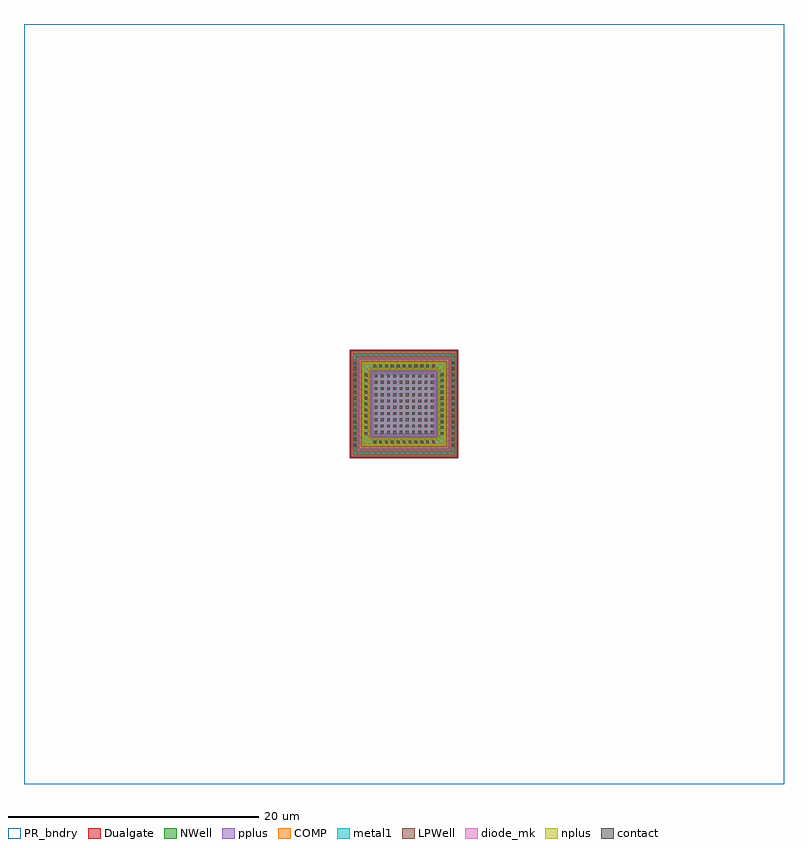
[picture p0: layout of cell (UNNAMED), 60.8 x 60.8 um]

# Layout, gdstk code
import gdstk
lib = gdstk.Library(unit=1e-6, precision=1e-09)
def R(c, l, rs):  # rectangles x0, y0, x1, y1
    for r in rs: c.add(gdstk.rectangle(r[:2], r[2:], *l))
def A(c, l, x, y, w, h, nx, ny, dx, dy):  # array of equal rectangles
    R(c, l, [(x+i*dx, y+j*dy, x+i*dx+w, y+j*dy+h) for i in range(nx) for j in range(ny)])
PR_bndry = (0, 0)
NWell = (21, 0)
COMP = (22, 0)
pplus = (31, 0)
nplus = (32, 0)
contact = (33, 0)
metal1 = (34, 0)
Dualgate = (55, 0)
diode_mk = (115, 5)
LPWell = (204, 0)

c__unnamed_ = lib.new_cell('(UNNAMED)')
R(c__unnamed_, PR_bndry, [(-30.4,-30.4,30.4,30.4)])
R(c__unnamed_, NWell, [(-3.38,-3.38,3.38,3.38)])
R(c__unnamed_, COMP, [(-4.1,-4.1,4.1,-3.74), (-4.1,-3.74,-3.74,3.74), (3.74,-3.74,4.1,3.74), (-3.22,-3.22,3.22,-2.86), (-3.22,-2.86,-2.86,2.86), (2.86,-2.86,3.22,2.86), (-2.5,-2.5,2.5,2.5), (-3.22,2.86,3.22,3.22), (-4.1,3.74,4.1,4.1)])
R(c__unnamed_, pplus, [(-4.12,-4.12,4.12,-3.615), (-4.13,-3.615,4.13,-3.58), (-4.13,-3.58,-3.58,3.58), (3.58,-3.58,4.13,3.58), (-2.66,-2.66,2.66,2.66), (-4.13,3.58,4.13,3.615), (-4.12,3.615,4.12,4.12)])
R(c__unnamed_, nplus, [(-3.38,-3.38,3.38,-2.79), (-3.38,-2.79,-2.79,2.79), (2.79,-2.79,3.38,2.79), (-3.38,2.79,3.38,3.38)])
A(c__unnamed_, contact, -4.03, -3.4, 0.22, 0.22, 1, 15, 0, 0.47)
A(c__unnamed_, contact, 3.81, -3.4, 0.22, 0.22, 1, 15, 0, 0.47)
A(c__unnamed_, contact, -2.46, -3.15, 0.22, 0.22, 11, 2, 0.47, 6.08)
A(c__unnamed_, contact, -3.15, -2.46, 0.22, 0.22, 1, 11, 0, 0.47)
A(c__unnamed_, contact, 2.93, -2.46, 0.22, 0.22, 1, 11, 0, 0.47)
A(c__unnamed_, contact, -2.36, -2.36, 0.22, 0.22, 10, 10, 0.5, 0.5)
R(c__unnamed_, metal1, [(-4.035,-4.035,4.035,-3.805), (-4.035,-3.805,-3.805,3.805), (3.805,-3.805,4.035,3.805), (-3.155,-3.155,3.155,-2.925), (-3.155,-2.925,-2.925,2.925), (2.925,-2.925,3.155,2.925), (-2.49,-2.435,2.49,2.435), (-3.155,2.925,3.155,3.155), (-4.035,3.805,4.035,4.035)])
R(c__unnamed_, Dualgate, [(-4.34,-4.34,4.34,4.34)])
R(c__unnamed_, diode_mk, [(-2.5,-2.5,2.5,2.5)])
R(c__unnamed_, LPWell, [(-4.26,-4.26,4.26,-3.38), (-4.26,-3.38,-3.38,3.38), (3.38,-3.38,4.26,3.38), (-4.26,3.38,4.26,4.26)])

lib.write_gds('_UNNAMED_.gds')
